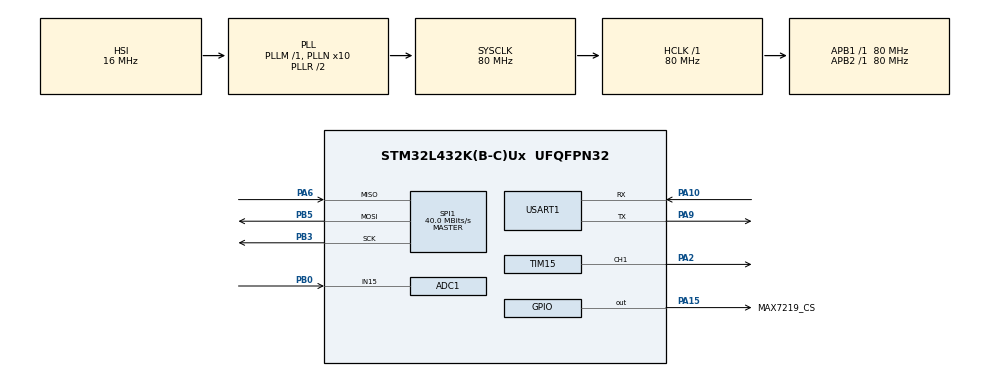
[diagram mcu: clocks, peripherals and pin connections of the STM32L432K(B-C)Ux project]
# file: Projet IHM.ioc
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ADC1.Channel-0\#ChannelRegularConversion=ADC_CHANNEL_15
ADC1.ExternalTrigConv=ADC_EXTERNALTRIG_T15_TRGO
ADC1.NbrOfConversion=1
ADC1.NbrOfConversionFlag=1
ADC1.OffsetNumber-0\#ChannelRegularConversion=ADC_OFFSET_NONE
ADC1.OversamplingMode=DISABLE
ADC1.Rank-0\#ChannelRegularConversion=1
ADC1.SamplingTime-0\#ChannelRegularConversion=ADC_SAMPLETIME_640CYCLES_5
ADC1.master=1
Mcu.Family=STM32L4
Mcu.Name=STM32L432K(B-C)Ux
Mcu.Package=UFQFPN32
NVIC.ADC1_IRQn=true\:0\:0\:false\:false\:true\:true\:true\:true
NVIC.PriorityGroup=NVIC_PRIORITYGROUP_4
NVIC.TIM1_BRK_TIM15_IRQn=true\:0\:0\:false\:false\:true\:true\:true\:true
NVIC.TIM7_IRQn=true\:0\:0\:false\:false\:true\:true\:true\:true
PA0.GPIO_Label=MCO [High speed clock in]
PA0.Mode=HSE-External-Clock-Source-for-LittleOrca
PA0.Signal=RCC_CK_IN
PA10.Mode=Asynchronous
PA10.Signal=USART1_RX
PA13\ (JTMS-SWDIO).GPIO_Label=SWDIO
PA13\ (JTMS-SWDIO).Mode=Serial_Wire
PA13\ (JTMS-SWDIO).Signal=SYS_JTMS-SWDIO
PA14\ (JTCK-SWCLK).GPIO_Label=SWCLK
PA14\ (JTCK-SWCLK).Mode=Serial_Wire
PA14\ (JTCK-SWCLK).Signal=SYS_JTCK-SWCLK
PA15\ (JTDI).GPIO_Label=MAX7219_CS
PA15\ (JTDI).Signal=GPIO_Output
PA2.Signal=S_TIM15_CH1
PA6.Mode=Full_Duplex_Master
PA6.Signal=SPI1_MISO
PA9.Mode=Asynchronous
PA9.Signal=USART1_TX
PB0.Signal=ADCx_IN15
PB3\ (JTDO-TRACESWO).Mode=Full_Duplex_Master
PB3\ (JTDO-TRACESWO).Signal=SPI1_SCK
PB5.Mode=Full_Duplex_Master
PB5.Signal=SPI1_MOSI
PC14-OSC32_IN\ (PC14).Mode=LSE-External-Oscillator
PC14-OSC32_IN\ (PC14).Signal=RCC_OSC32_IN
PC15-OSC32_OUT\ (PC15).Mode=LSE-External-Oscillator
PC15-OSC32_OUT\ (PC15).Signal=RCC_OSC32_OUT
ProjectManager.HeapSize=0x200
ProjectManager.StackSize=0x400
ProjectManager.TargetToolchain=STM32CubeIDE
RCC.ADCCLockSelection=RCC_ADCCLKSOURCE_SYSCLK
RCC.ADCFreq_Value=80000000
RCC.AHBFreq_Value=80000000
RCC.APB1Freq_Value=80000000
RCC.APB1TimFreq_Value=80000000
RCC.APB2Freq_Value=80000000
RCC.APB2TimFreq_Value=80000000
RCC.CortexFreq_Value=80000000
RCC.HCLKFreq_Value=80000000
RCC.HSE_VALUE=8000000
RCC.HSI16_VALUE=16000000
RCC.HSI48_VALUE=48000000
RCC.HSI_VALUE=16000000
RCC.MSI_VALUE=4000000
RCC.PLLMUL=RCC_PLLMUL_4
RCC.PLLN=10
RCC.PLLSourceVirtual=RCC_PLLSOURCE_HSI
RCC.SYSCLKFreq_VALUE=80000000
RCC.SYSCLKSource=RCC_SYSCLKSOURCE_PLLCLK
RCC.USBFreq_Value=64000000
RCC.VCOOutputFreq_Value=160000000
SH.ADCx_IN15.0=ADC1_IN15,IN15-Single-Ended
SH.S_TIM15_CH1.0=TIM15_CH1,Output Compare1 CH1
SPI1.CalculateBaudRate=40.0 MBits/s
SPI1.DataSize=SPI_DATASIZE_8BIT
SPI1.Direction=SPI_DIRECTION_2LINES
SPI1.Mode=SPI_MODE_MASTER
SPI1.VirtualType=VM_MASTER
TIM15.Channel-Output\ Compare1\ CH1=TIM_CHANNEL_1
TIM15.Period=999
TIM15.Prescaler=399
TIM15.TIM_MasterOutputTrigger=TIM_TRGO_UPDATE
TIM15.TIM_MasterSlaveMode=TIM_MASTERSLAVEMODE_DISABLE
TIM7.Period=999
TIM7.Prescaler=399
USART1.VirtualMode-Asynchronous=VM_ASYNC
VP_TIM15_VS_ClockSourceINT.Mode=Internal
VP_TIM7_VS_ClockSourceINT.Mode=Enable_Timer
board=NUCLEO-L432KC

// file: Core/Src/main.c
/* USER CODE BEGIN Header */
/**
  ******************************************************************************
  * @file           : main.c
  * @brief          : Acquisition ECG via ADC et transmission sur UART1 pour visualisation
  ******************************************************************************
  * @attention
  * Ce code lit le signal analogique (ECG) sur PB0 (ADC1_IN15), le convertit en tension,
  * et l'envoie via USART1 (TX=PA9, RX=PA10, 115200 bauds).
  * Dans SerialPlot, configurez le port COM correspondant (115200, 8N1) pour visualiser
  * la courbe en temps réel.
  ******************************************************************************
  */
/* USER CODE END Header */
#include "main.h"

/* USER CODE BEGIN Includes */

#include <stdio.h>
#include <string.h>
#include <math.h>
#include "max7219.h"

/* USER CODE END Includes */

/* USER CODE BEGIN PD */
#define WINDOW_SIZE 5  // Fenêtre réduite pour la moyenne mobile
#define ADC_REF_VOLTAGE 3.3f
#define ADC_MAX_VALUE 4095.0f
#define REFRACTORY_MS 200  // Période réfractaire (~300 BPM max)

// Coefficients filtre passe-haut (0,5 Hz, fs=200 Hz)
static float highPassCoeffs[6] = {1.0f, -1.0f, 0.0f, 1.0f, -0.992f, 0.0f};
// Coefficients SOS (Notch 50 Hz + passe-bande 0,5–40 Hz)
#define NUM_SECTIONS 5
static float sosCoeffs[NUM_SECTIONS][6] = {
    {0.9745f, -1.949f, 0.9745f, 1.0f, -1.897f, 0.951f}, // Notch 50 Hz
    {0.0176f, 0.0352f, 0.0176f, 1.0f, -0.698f, 0.154f}, // Passe-bande
    {1.0f, 2.0f, 1.0f, 1.0f, -0.908f, 0.537f},
    {1.0f, -2.0f, 1.0f, 1.0f, -1.970f, 0.970f},
    {1.0f, -2.0f, 1.0f, 1.0f, -1.988f, 0.988f}
};

static float w_hp[2] = {0};  // Mémoire filtre passe-haut
static float w[NUM_SECTIONS][2] = {0};  // Mémoire filtres SOS
static float buffer[WINDOW_SIZE] = {0};  // Buffer moyenne mobile
static int bufferIndex = 0;
static float bufferSum = 0.0f;
static float threshold = 0.2f;  // Seuil initial
static uint8_t peakDetected = 0;
static uint32_t lastPeakTime = 0;
static float BPM = 0.0f;
static float maxAmplitude = 0.0f;

/* USER CODE END PD */

ADC_HandleTypeDef hadc1;

SPI_HandleTypeDef hspi1;

TIM_HandleTypeDef htim7;
TIM_HandleTypeDef htim15;

UART_HandleTypeDef huart1;

/* USER CODE BEGIN PV */
// On souhaite environ 200 Hz d'échantillonnage
// (le Timer15 est configuré en conséquence)
/* USER CODE END PV */

void SystemClock_Config(void);
static void MX_GPIO_Init(void);
static void MX_TIM7_Init(void);
static void MX_ADC1_Init(void);
static void MX_SPI1_Init(void);
static void MX_TIM15_Init(void);
static void MX_USART1_UART_Init(void);

/* USER CODE BEGIN 0 */
float applyHighPass(float x_in) {
    float w_n = x_in - highPassCoeffs[4] * w_hp[0] - highPassCoeffs[5] * w_hp[1];
    float y_n = highPassCoeffs[0] * w_n + highPassCoeffs[1] * w_hp[0] + highPassCoeffs[2] * w_hp[1];
    w_hp[1] = w_hp[0];
    w_hp[0] = w_n;
    return y_n;
}

float applyBiquadSOS(float x_in) {
    float x_out = x_in;
    for (int s = 0; s < NUM_SECTIONS; s++) {
        float w_n = x_out - sosCoeffs[s][4] * w[s][0] - sosCoeffs[s][5] * w[s][1];
        x_out = sosCoeffs[s][0] * w_n + sosCoeffs[s][1] * w[s][0] + sosCoeffs[s][2] * w[s][1];
        w[s][1] = w[s][0];
        w[s][0] = w_n;
    }
    return x_out;
}

float movingAverageFilter(float newSample) {
    bufferSum -= buffer[bufferIndex];
    buffer[bufferIndex] = newSample;
    bufferSum += newSample;
    bufferIndex = (bufferIndex + 1) % WINDOW_SIZE;
    return bufferSum / WINDOW_SIZE;
}

float detectPeakAndComputeBPM(float valFiltre) {
    uint32_t now = HAL_GetTick();
    maxAmplitude = fmaxf(maxAmplitude, valFiltre);
    threshold = 0.7f * maxAmplitude;  // Seuil adaptatif
    if (valFiltre > threshold && !peakDetected && (now - lastPeakTime) > REFRACTORY_MS) {
        if (lastPeakTime != 0) {
            BPM = 60000.0f / (float)(now - lastPeakTime);
        }
        lastPeakTime = now;
        peakDetected = 1;
        return 1.0f;
    }
    if (valFiltre < (threshold * 0.5f)) peakDetected = 0;
    return 0.0f;
}

void HAL_ADC_ConvCpltCallback(ADC_HandleTypeDef *hadc) {
    uint32_t rawVal = HAL_ADC_GetValue(hadc);
    float rawVoltage = (ADC_REF_VOLTAGE * rawVal) / ADC_MAX_VALUE;
    //float rawVoltage=rawVal*1.0f;
    float highPassed = applyHighPass(rawVoltage);
    float biquadFiltered = applyBiquadSOS(highPassed);
    float filtered = movingAverageFilter(biquadFiltered);
    float peakFlag = detectPeakAndComputeBPM(filtered);
    char msg[64];
    sprintf(msg, "%.4f,%.4f,%.1f\r\n", rawVoltage, filtered, BPM);
    HAL_UART_Transmit(&huart1, (uint8_t*)msg, strlen(msg), HAL_MAX_DELAY);
}

/* USER CODE END 0 */

int main(void)
{

  /* MCU Configuration--------------------------------------------------------*/

  /* Reset of all peripherals, Initializes the Flash interface and the Systick. */
  HAL_Init();

  /* Configure the system clock */
  SystemClock_Config();

  /* Initialize all configured peripherals */
  MX_GPIO_Init();
  MX_TIM7_Init();
  MX_ADC1_Init();
  MX_SPI1_Init();
  MX_TIM15_Init();
  MX_USART1_UART_Init();
  /* USER CODE BEGIN 2 */
  // Calibration ADC
      HAL_ADCEx_Calibration_Start(&hadc1, ADC_SINGLE_ENDED);

      // Démarrage ADC en mode interrupt
      HAL_ADC_Start_IT(&hadc1);

      // Démarrage TIM15
      HAL_TIM_Base_Start(&htim15);

  /* USER CODE END 2 */

  /* Infinite loop */
  /* USER CODE BEGIN WHILE */
  while (1)
  {
    // Rien à faire dans la boucle.
    // Le timer déclenche l’ADC dans la callback,
    // et la fin de conversion envoie la mesure sur l’UART.
  }
    /* USER CODE END WHILE */

}

void SystemClock_Config(void)
{
  RCC_OscInitTypeDef RCC_OscInitStruct = {0};
  RCC_ClkInitTypeDef RCC_ClkInitStruct = {0};

  /** Configure the main internal regulator output voltage
  */
  if (HAL_PWREx_ControlVoltageScaling(PWR_REGULATOR_VOLTAGE_SCALE1) != HAL_OK)
  {
    Error_Handler();
  }

  /** Initializes the RCC Oscillators according to the specified parameters
  * in the RCC_OscInitTypeDef structure.
  */
  RCC_OscInitStruct.OscillatorType = RCC_OSCILLATORTYPE_HSI;
  RCC_OscInitStruct.HSIState = RCC_HSI_ON;
  RCC_OscInitStruct.HSICalibrationValue = RCC_HSICALIBRATION_DEFAULT;
  RCC_OscInitStruct.PLL.PLLState = RCC_PLL_ON;
  RCC_OscInitStruct.PLL.PLLSource = RCC_PLLSOURCE_HSI;
  RCC_OscInitStruct.PLL.PLLM = 1;
  RCC_OscInitStruct.PLL.PLLN = 10;
  RCC_OscInitStruct.PLL.PLLP = RCC_PLLP_DIV7;
  RCC_OscInitStruct.PLL.PLLQ = RCC_PLLQ_DIV2;
  RCC_OscInitStruct.PLL.PLLR = RCC_PLLR_DIV2;
  if (HAL_RCC_OscConfig(&RCC_OscInitStruct) != HAL_OK)
  {
    Error_Handler();
  }

  /** Initializes the CPU, AHB and APB buses clocks
  */
  RCC_ClkInitStruct.ClockType = RCC_CLOCKTYPE_HCLK|RCC_CLOCKTYPE_SYSCLK
                              |RCC_CLOCKTYPE_PCLK1|RCC_CLOCKTYPE_PCLK2;
  RCC_ClkInitStruct.SYSCLKSource = RCC_SYSCLKSOURCE_PLLCLK;
  RCC_ClkInitStruct.AHBCLKDivider = RCC_SYSCLK_DIV1;
  RCC_ClkInitStruct.APB1CLKDivider = RCC_HCLK_DIV1;
  RCC_ClkInitStruct.APB2CLKDivider = RCC_HCLK_DIV1;

  if (HAL_RCC_ClockConfig(&RCC_ClkInitStruct, FLASH_LATENCY_4) != HAL_OK)
  {
    Error_Handler();
  }
}

static void MX_ADC1_Init(void)
{

  ADC_ChannelConfTypeDef sConfig = {0};

  /** Common config
  */
  hadc1.Instance = ADC1;
  hadc1.Init.ClockPrescaler = ADC_CLOCK_ASYNC_DIV1;
  hadc1.Init.Resolution = ADC_RESOLUTION_12B;
  hadc1.Init.DataAlign = ADC_DATAALIGN_RIGHT;
  hadc1.Init.ScanConvMode = ADC_SCAN_DISABLE;
  hadc1.Init.EOCSelection = ADC_EOC_SINGLE_CONV;
  hadc1.Init.LowPowerAutoWait = DISABLE;
  hadc1.Init.ContinuousConvMode = DISABLE;
  hadc1.Init.NbrOfConversion = 1;
  hadc1.Init.DiscontinuousConvMode = DISABLE;
  hadc1.Init.ExternalTrigConv = ADC_EXTERNALTRIG_T15_TRGO;
  hadc1.Init.ExternalTrigConvEdge = ADC_EXTERNALTRIGCONVEDGE_RISING;
  hadc1.Init.DMAContinuousRequests = DISABLE;
  hadc1.Init.Overrun = ADC_OVR_DATA_PRESERVED;
  hadc1.Init.OversamplingMode = DISABLE;
  if (HAL_ADC_Init(&hadc1) != HAL_OK)
  {
    Error_Handler();
  }

  /** Configure Regular Channel
  */
  sConfig.Channel = ADC_CHANNEL_15;
  sConfig.Rank = ADC_REGULAR_RANK_1;
  sConfig.SamplingTime = ADC_SAMPLETIME_640CYCLES_5;
  sConfig.SingleDiff = ADC_SINGLE_ENDED;
  sConfig.OffsetNumber = ADC_OFFSET_NONE;
  sConfig.Offset = 0;
  if (HAL_ADC_ConfigChannel(&hadc1, &sConfig) != HAL_OK)
  {
    Error_Handler();
  }

}

static void MX_SPI1_Init(void)
{

  /* SPI1 parameter configuration*/
  hspi1.Instance = SPI1;
  hspi1.Init.Mode = SPI_MODE_MASTER;
  hspi1.Init.Direction = SPI_DIRECTION_2LINES;
  hspi1.Init.DataSize = SPI_DATASIZE_8BIT;
  hspi1.Init.CLKPolarity = SPI_POLARITY_LOW;
  hspi1.Init.CLKPhase = SPI_PHASE_1EDGE;
  hspi1.Init.NSS = SPI_NSS_SOFT;
  hspi1.Init.BaudRatePrescaler = SPI_BAUDRATEPRESCALER_2;
  hspi1.Init.FirstBit = SPI_FIRSTBIT_MSB;
  hspi1.Init.TIMode = SPI_TIMODE_DISABLE;
  hspi1.Init.CRCCalculation = SPI_CRCCALCULATION_DISABLE;
  hspi1.Init.CRCPolynomial = 7;
  hspi1.Init.CRCLength = SPI_CRC_LENGTH_DATASIZE;
  hspi1.Init.NSSPMode = SPI_NSS_PULSE_ENABLE;
  if (HAL_SPI_Init(&hspi1) != HAL_OK)
  {
    Error_Handler();
  }

}

static void MX_TIM7_Init(void)
{

  TIM_MasterConfigTypeDef sMasterConfig = {0};

  htim7.Instance = TIM7;
  htim7.Init.Prescaler = 399;
  htim7.Init.CounterMode = TIM_COUNTERMODE_UP;
  htim7.Init.Period = 999;
  htim7.Init.AutoReloadPreload = TIM_AUTORELOAD_PRELOAD_DISABLE;
  if (HAL_TIM_Base_Init(&htim7) != HAL_OK)
  {
    Error_Handler();
  }
  sMasterConfig.MasterOutputTrigger = TIM_TRGO_RESET;
  sMasterConfig.MasterSlaveMode = TIM_MASTERSLAVEMODE_DISABLE;
  if (HAL_TIMEx_MasterConfigSynchronization(&htim7, &sMasterConfig) != HAL_OK)
  {
    Error_Handler();
  }

}

static void MX_TIM15_Init(void)
{

  TIM_ClockConfigTypeDef sClockSourceConfig = {0};
  TIM_MasterConfigTypeDef sMasterConfig = {0};
  TIM_OC_InitTypeDef sConfigOC = {0};
  TIM_BreakDeadTimeConfigTypeDef sBreakDeadTimeConfig = {0};

  htim15.Instance = TIM15;
  htim15.Init.Prescaler = 399;
  htim15.Init.CounterMode = TIM_COUNTERMODE_UP;
  htim15.Init.Period = 999;
  htim15.Init.ClockDivision = TIM_CLOCKDIVISION_DIV1;
  htim15.Init.RepetitionCounter = 0;
  htim15.Init.AutoReloadPreload = TIM_AUTORELOAD_PRELOAD_DISABLE;
  if (HAL_TIM_Base_Init(&htim15) != HAL_OK)
  {
    Error_Handler();
  }
  sClockSourceConfig.ClockSource = TIM_CLOCKSOURCE_INTERNAL;
  if (HAL_TIM_ConfigClockSource(&htim15, &sClockSourceConfig) != HAL_OK)
  {
    Error_Handler();
  }
  if (HAL_TIM_OC_Init(&htim15) != HAL_OK)
  {
    Error_Handler();
  }
  sMasterConfig.MasterOutputTrigger = TIM_TRGO_UPDATE;
  sMasterConfig.MasterSlaveMode = TIM_MASTERSLAVEMODE_DISABLE;
  if (HAL_TIMEx_MasterConfigSynchronization(&htim15, &sMasterConfig) != HAL_OK)
  {
    Error_Handler();
  }
  sConfigOC.OCMode = TIM_OCMODE_TIMING;
  sConfigOC.Pulse = 0;
  sConfigOC.OCPolarity = TIM_OCPOLARITY_HIGH;
  sConfigOC.OCNPolarity = TIM_OCNPOLARITY_HIGH;
  sConfigOC.OCFastMode = TIM_OCFAST_DISABLE;
  sConfigOC.OCIdleState = TIM_OCIDLESTATE_RESET;
  sConfigOC.OCNIdleState = TIM_OCNIDLESTATE_RESET;
  if (HAL_TIM_OC_ConfigChannel(&htim15, &sConfigOC, TIM_CHANNEL_1) != HAL_OK)
  {
    Error_Handler();
  }
  sBreakDeadTimeConfig.OffStateRunMode = TIM_OSSR_DISABLE;
  sBreakDeadTimeConfig.OffStateIDLEMode = TIM_OSSI_DISABLE;
  sBreakDeadTimeConfig.LockLevel = TIM_LOCKLEVEL_OFF;
  sBreakDeadTimeConfig.DeadTime = 0;
  sBreakDeadTimeConfig.BreakState = TIM_BREAK_DISABLE;
  sBreakDeadTimeConfig.BreakPolarity = TIM_BREAKPOLARITY_HIGH;
  sBreakDeadTimeConfig.AutomaticOutput = TIM_AUTOMATICOUTPUT_DISABLE;
  if (HAL_TIMEx_ConfigBreakDeadTime(&htim15, &sBreakDeadTimeConfig) != HAL_OK)
  {
    Error_Handler();
  }
  HAL_TIM_MspPostInit(&htim15);

}

static void MX_USART1_UART_Init(void)
{

  huart1.Instance = USART1;
  huart1.Init.BaudRate = 115200;
  huart1.Init.WordLength = UART_WORDLENGTH_8B;
  huart1.Init.StopBits = UART_STOPBITS_1;
  huart1.Init.Parity = UART_PARITY_NONE;
  huart1.Init.Mode = UART_MODE_TX_RX;
  huart1.Init.HwFlowCtl = UART_HWCONTROL_NONE;
  huart1.Init.OverSampling = UART_OVERSAMPLING_16;
  huart1.Init.OneBitSampling = UART_ONE_BIT_SAMPLE_DISABLE;
  huart1.AdvancedInit.AdvFeatureInit = UART_ADVFEATURE_NO_INIT;
  if (HAL_UART_Init(&huart1) != HAL_OK)
  {
    Error_Handler();
  }

}

static void MX_GPIO_Init(void)
{
  GPIO_InitTypeDef GPIO_InitStruct = {0};

  /* GPIO Ports Clock Enable */
  __HAL_RCC_GPIOC_CLK_ENABLE();
  __HAL_RCC_GPIOA_CLK_ENABLE();
  __HAL_RCC_GPIOB_CLK_ENABLE();

  /*Configure GPIO pin Output Level */
  HAL_GPIO_WritePin(MAX7219_CS_GPIO_Port, MAX7219_CS_Pin, GPIO_PIN_RESET);

  /*Configure GPIO pin : MAX7219_CS_Pin */
  GPIO_InitStruct.Pin = MAX7219_CS_Pin;
  GPIO_InitStruct.Mode = GPIO_MODE_OUTPUT_PP;
  GPIO_InitStruct.Pull = GPIO_NOPULL;
  GPIO_InitStruct.Speed = GPIO_SPEED_FREQ_LOW;
  HAL_GPIO_Init(MAX7219_CS_GPIO_Port, &GPIO_InitStruct);

}

void Error_Handler(void)
{
  __disable_irq();
  while (1)
  {
  }
}
